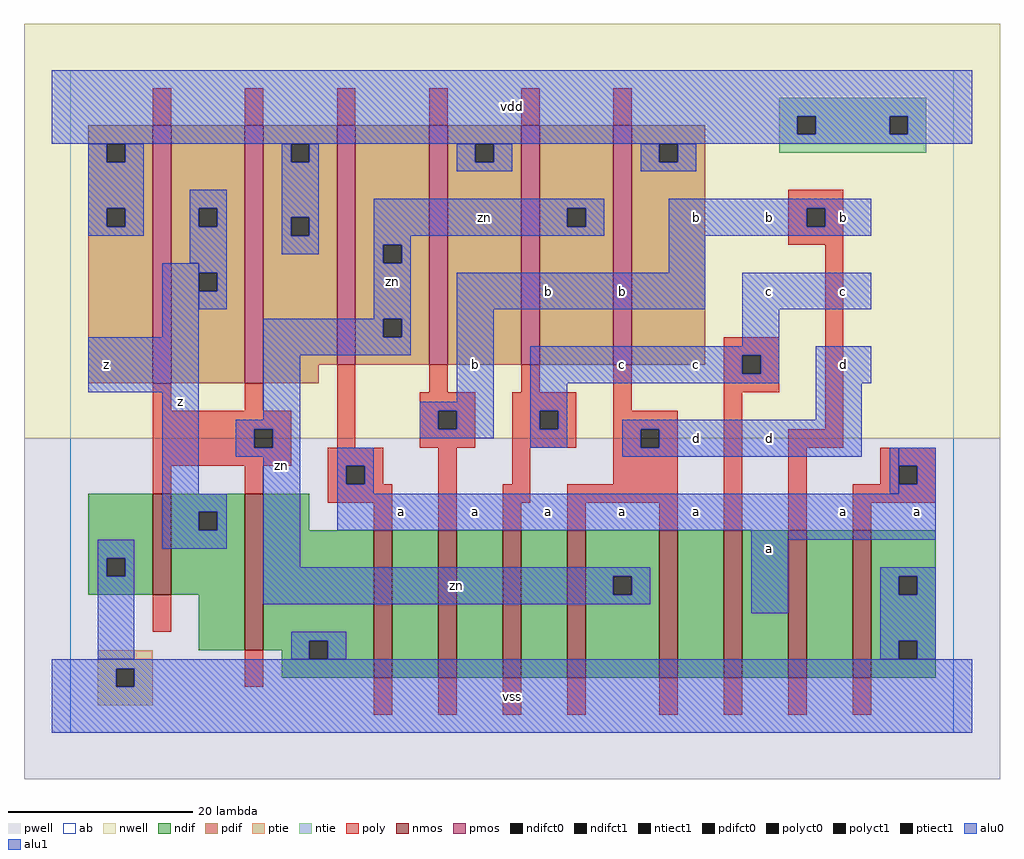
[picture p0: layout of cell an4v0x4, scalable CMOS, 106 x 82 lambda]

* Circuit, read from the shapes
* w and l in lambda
.subckt an4v0x4 a b c d vdd vss z zn
M1 z zn vss vss nfet w=11 l=2
M2 vss zn z vss nfet w=17 l=2
M3 n1 a vss vss nfet w=16 l=2
M4 n2 b n1 vss nfet w=16 l=2
M5 n3 c n2 vss nfet w=16 l=2
M6 zn d n3 vss nfet w=16 l=2
M7 n4 d zn vss nfet w=16 l=2
M8 n5 c n4 vss nfet w=16 l=2
M9 n6 b n5 vss nfet w=16 l=2
M10 vss a n6 vss nfet w=16 l=2
M11 z zn vdd vdd pfet w=28 l=2 m=2
M12 zn a vdd vdd pfet w=26 l=2
M13 vdd b zn vdd pfet w=26 l=2
M14 zn c vdd vdd pfet w=26 l=2
M15 vdd d zn vdd pfet w=26 l=2
.ends

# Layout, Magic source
magic
tech scmos
<< ab >>
rect 0 0 96 72
<< nwell >>
rect -5 32 101 77
<< pwell >>
rect -5 -5 101 32
<< poly >>
rect 9 66 11 70
rect 19 66 21 70
rect 29 66 31 70
rect 39 66 41 70
rect 49 66 51 70
rect 59 66 61 70
rect 78 57 84 59
rect 78 55 80 57
rect 82 55 84 57
rect 78 53 84 55
rect 71 41 77 43
rect 9 35 11 38
rect 19 35 21 38
rect 9 33 24 35
rect 9 31 20 33
rect 22 31 24 33
rect 29 31 31 40
rect 39 37 41 40
rect 49 37 51 40
rect 38 35 44 37
rect 38 33 40 35
rect 42 33 44 35
rect 38 31 44 33
rect 48 35 55 37
rect 48 33 51 35
rect 53 33 55 35
rect 48 31 55 33
rect 59 35 61 40
rect 71 39 73 41
rect 75 39 77 41
rect 71 37 77 39
rect 59 33 66 35
rect 59 31 62 33
rect 64 31 66 33
rect 9 29 24 31
rect 28 29 34 31
rect 9 26 11 29
rect 19 26 21 29
rect 28 27 30 29
rect 32 27 34 29
rect 9 11 11 15
rect 28 25 35 27
rect 33 22 35 25
rect 40 22 42 31
rect 48 27 50 31
rect 59 27 66 31
rect 47 25 50 27
rect 54 25 66 27
rect 47 22 49 25
rect 54 22 56 25
rect 64 22 66 25
rect 71 22 73 37
rect 82 33 84 53
rect 78 31 84 33
rect 78 22 80 31
rect 88 29 94 31
rect 88 27 90 29
rect 92 27 94 29
rect 85 25 94 27
rect 85 22 87 25
rect 19 5 21 9
rect 33 2 35 6
rect 40 2 42 6
rect 47 2 49 6
rect 54 2 56 6
rect 64 2 66 6
rect 71 2 73 6
rect 78 2 80 6
rect 85 2 87 6
<< ndif >>
rect 2 19 9 26
rect 2 17 4 19
rect 6 17 9 19
rect 2 15 9 17
rect 11 24 19 26
rect 11 22 14 24
rect 16 22 19 24
rect 11 15 19 22
rect 14 9 19 15
rect 21 22 26 26
rect 21 10 33 22
rect 21 9 26 10
rect 23 8 26 9
rect 28 8 33 10
rect 23 6 33 8
rect 35 6 40 22
rect 42 6 47 22
rect 49 6 54 22
rect 56 17 64 22
rect 56 15 59 17
rect 61 15 64 17
rect 56 6 64 15
rect 66 6 71 22
rect 73 6 78 22
rect 80 6 85 22
rect 87 17 94 22
rect 87 15 90 17
rect 92 15 94 17
rect 87 10 94 15
rect 87 8 90 10
rect 92 8 94 10
rect 87 6 94 8
<< pdif >>
rect 2 64 9 66
rect 2 62 4 64
rect 6 62 9 64
rect 2 57 9 62
rect 2 55 4 57
rect 6 55 9 57
rect 2 38 9 55
rect 11 57 19 66
rect 11 55 14 57
rect 16 55 19 57
rect 11 50 19 55
rect 11 48 14 50
rect 16 48 19 50
rect 11 38 19 48
rect 21 64 29 66
rect 21 62 24 64
rect 26 62 29 64
rect 21 56 29 62
rect 21 54 24 56
rect 26 54 29 56
rect 21 40 29 54
rect 31 53 39 66
rect 31 51 34 53
rect 36 51 39 53
rect 31 45 39 51
rect 31 43 34 45
rect 36 43 39 45
rect 31 40 39 43
rect 41 64 49 66
rect 41 62 44 64
rect 46 62 49 64
rect 41 40 49 62
rect 51 57 59 66
rect 51 55 54 57
rect 56 55 59 57
rect 51 40 59 55
rect 61 64 69 66
rect 61 62 64 64
rect 66 62 69 64
rect 61 40 69 62
rect 21 38 27 40
<< alu1 >>
rect -2 67 98 72
rect -2 65 79 67
rect 81 65 89 67
rect 91 65 98 67
rect -2 64 98 65
rect 65 57 87 58
rect 65 55 80 57
rect 82 55 87 57
rect 65 54 87 55
rect 10 43 14 51
rect 65 50 69 54
rect 2 37 14 43
rect 10 26 14 37
rect 42 46 69 50
rect 73 46 87 50
rect 42 36 46 46
rect 73 42 77 46
rect 38 35 46 36
rect 38 33 40 35
rect 42 33 46 35
rect 38 32 46 33
rect 50 41 77 42
rect 50 39 73 41
rect 75 39 77 41
rect 50 38 77 39
rect 81 38 87 42
rect 50 35 54 38
rect 50 33 51 35
rect 53 33 54 35
rect 81 34 86 38
rect 50 31 54 33
rect 60 33 86 34
rect 60 31 62 33
rect 64 31 86 33
rect 10 24 17 26
rect 10 22 14 24
rect 16 22 17 24
rect 10 20 17 22
rect 29 29 33 31
rect 60 30 86 31
rect 29 27 30 29
rect 32 27 33 29
rect 29 26 33 27
rect 90 29 94 31
rect 92 27 94 29
rect 90 26 94 27
rect 29 22 94 26
rect 74 21 94 22
rect 74 13 78 21
rect -2 7 98 8
rect -2 5 5 7
rect 7 5 98 7
rect -2 0 98 5
<< ptie >>
rect 3 7 9 9
rect 3 5 5 7
rect 7 5 9 7
rect 3 3 9 5
<< ntie >>
rect 77 67 93 69
rect 77 65 79 67
rect 81 65 89 67
rect 91 65 93 67
rect 77 63 93 65
<< nmos >>
rect 9 15 11 26
rect 19 9 21 26
rect 33 6 35 22
rect 40 6 42 22
rect 47 6 49 22
rect 54 6 56 22
rect 64 6 66 22
rect 71 6 73 22
rect 78 6 80 22
rect 85 6 87 22
<< pmos >>
rect 9 38 11 66
rect 19 38 21 66
rect 29 40 31 66
rect 39 40 41 66
rect 49 40 51 66
rect 59 40 61 66
<< polyct0 >>
rect 20 31 22 33
<< polyct1 >>
rect 80 55 82 57
rect 40 33 42 35
rect 51 33 53 35
rect 73 39 75 41
rect 62 31 64 33
rect 30 27 32 29
rect 90 27 92 29
<< ndifct0 >>
rect 4 17 6 19
rect 26 8 28 10
rect 59 15 61 17
rect 90 15 92 17
rect 90 8 92 10
<< ndifct1 >>
rect 14 22 16 24
<< ntiect1 >>
rect 79 65 81 67
rect 89 65 91 67
<< ptiect1 >>
rect 5 5 7 7
<< pdifct0 >>
rect 4 62 6 64
rect 4 55 6 57
rect 14 55 16 57
rect 14 48 16 50
rect 24 62 26 64
rect 24 54 26 56
rect 34 51 36 53
rect 34 43 36 45
rect 44 62 46 64
rect 54 55 56 57
rect 64 62 66 64
<< alu0 >>
rect 2 62 4 64
rect 6 62 8 64
rect 2 57 8 62
rect 23 62 24 64
rect 26 62 27 64
rect 2 55 4 57
rect 6 55 8 57
rect 2 54 8 55
rect 13 57 17 59
rect 13 55 14 57
rect 16 55 17 57
rect 13 51 17 55
rect 23 56 27 62
rect 42 62 44 64
rect 46 62 48 64
rect 42 61 48 62
rect 62 62 64 64
rect 66 62 68 64
rect 62 61 68 62
rect 23 54 24 56
rect 26 54 27 56
rect 23 52 27 54
rect 33 57 58 58
rect 33 55 54 57
rect 56 55 58 57
rect 33 54 58 55
rect 33 53 37 54
rect 14 50 17 51
rect 16 48 17 50
rect 14 46 17 48
rect 33 51 34 53
rect 36 51 37 53
rect 33 45 37 51
rect 21 43 34 45
rect 36 43 37 45
rect 21 41 37 43
rect 21 34 25 41
rect 18 33 25 34
rect 18 31 20 33
rect 22 31 25 33
rect 18 30 25 31
rect 3 19 7 21
rect 3 17 4 19
rect 6 17 7 19
rect 3 8 7 17
rect 21 18 25 30
rect 89 26 90 31
rect 21 17 63 18
rect 21 15 59 17
rect 61 15 63 17
rect 21 14 63 15
rect 88 17 94 18
rect 88 15 90 17
rect 92 15 94 17
rect 24 10 30 11
rect 24 8 26 10
rect 28 8 30 10
rect 88 10 94 15
rect 88 8 90 10
rect 92 8 94 10
<< labels >>
rlabel alu0 23 29 23 29 6 zn
rlabel alu0 35 49 35 49 6 zn
rlabel alu0 42 16 42 16 6 zn
rlabel alu0 45 56 45 56 6 zn
rlabel alu1 12 36 12 36 6 z
rlabel alu1 4 40 4 40 6 z
rlabel alu1 48 4 48 4 6 vss
rlabel alu1 36 24 36 24 6 a
rlabel alu1 52 24 52 24 6 a
rlabel alu1 44 24 44 24 6 a
rlabel alu1 44 40 44 40 6 b
rlabel alu1 52 48 52 48 6 b
rlabel alu1 48 68 48 68 6 vdd
rlabel alu1 60 24 60 24 6 a
rlabel alu1 68 24 68 24 6 a
rlabel alu1 76 20 76 20 6 a
rlabel alu1 76 32 76 32 6 d
rlabel alu1 68 32 68 32 6 d
rlabel alu1 60 40 60 40 6 c
rlabel alu1 68 40 68 40 6 c
rlabel alu1 60 48 60 48 6 b
rlabel alu1 76 48 76 48 6 c
rlabel alu1 76 56 76 56 6 b
rlabel alu1 68 56 68 56 6 b
rlabel alu1 92 24 92 24 6 a
rlabel alu1 84 24 84 24 6 a
rlabel alu1 84 40 84 40 6 d
rlabel alu1 84 48 84 48 6 c
rlabel alu1 84 56 84 56 6 b
<< end >>
